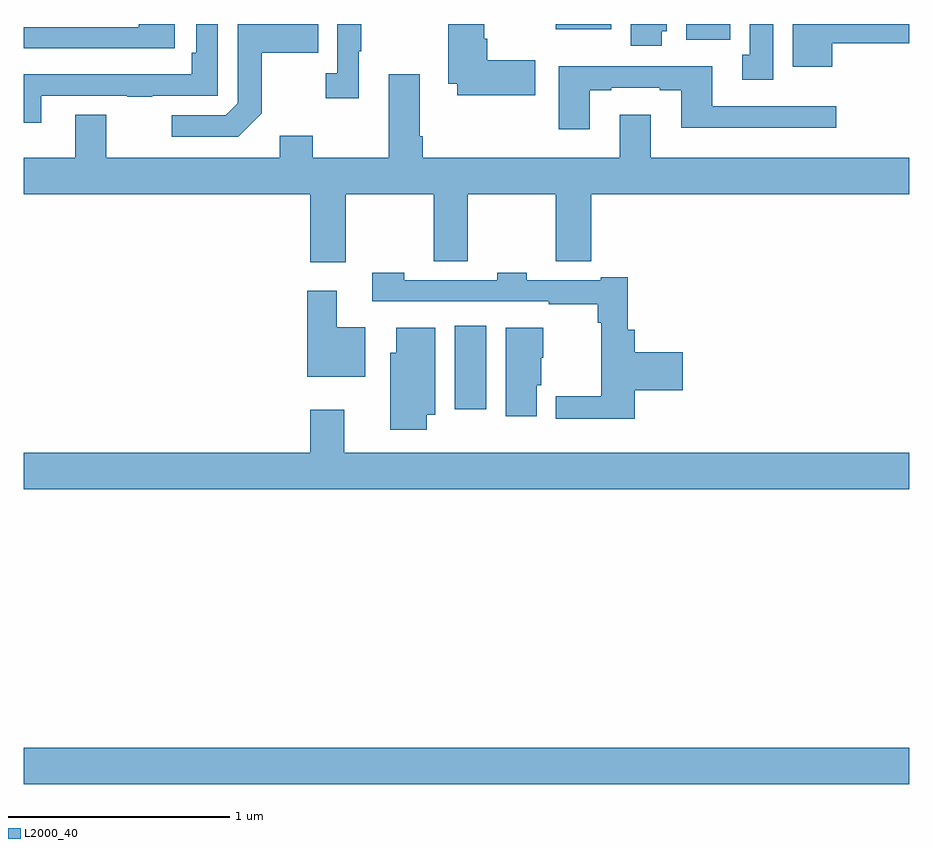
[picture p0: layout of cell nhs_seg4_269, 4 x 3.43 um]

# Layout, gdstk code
import gdstk
lib = gdstk.Library(unit=1e-6, precision=1e-09)
def R(c, l, rs):  # rectangles x0, y0, x1, y1
    for r in rs: c.add(gdstk.rectangle(r[:2], r[2:], *l))
def P(c, l, *ps):  # polygons
    for p in ps: c.add(gdstk.Polygon(p, *l))
L2000_40 = (2000, 40)

nhs_seg4_269 = lib.new_cell('nhs_seg4_269')
R(nhs_seg4_269, L2000_40, [(123,815.468,127,815.632), (124.946,817.161,125.089,817.537), (125.993,818.828,126.19,818.9), (125.402,818.876,125.653,818.9)])
P(nhs_seg4_269, L2000_40, [(124.075,818.497),(124.075,818.77),(124.331,818.77),(124.331,818.9),(123.966,818.9),(123.966,818.541),(123.912,818.487),(123.669,818.487),(123.669,818.391),(123.969,818.391)],
  [(123.682,818.9),(123.521,818.9),(123.521,818.886),(123,818.886),(123,818.79),(123.682,818.79)],
  [(126.385,818.9),(126.278,818.9),(126.278,818.762),(126.245,818.762),(126.245,818.649),(126.385,818.649)],
  [(124.513,818.777),(124.525,818.777),(124.525,818.9),(124.416,818.9),(124.416,818.678),(124.365,818.678),(124.365,818.565),(124.513,818.565)],
  [(125.311,818.737),(125.093,818.737),(125.093,818.833),(125.08,818.833),(125.08,818.9),(124.918,818.9),(124.918,818.63),(124.958,818.63),(124.958,818.579),(125.311,818.579)],
  [(125.881,818.868),(125.905,818.868),(125.905,818.9),(125.741,818.9),(125.741,818.801),(125.881,818.801)],
  [(123.079,818.577),(123.469,818.577),(123.469,818.572),(123.581,818.572),(123.581,818.577),(123.876,818.577),(123.876,818.9),(123.78,818.9),(123.78,818.77),(123.76,818.77),(123.76,818.673),(123.085,818.673),(123.085,818.672),(123,818.672),(123,818.454),(123.079,818.454)],
  [(126.652,818.812),(127,818.812),(127,818.9),(126.473,818.9),(126.473,818.708),(126.652,818.708)],
  [(125.557,818.601),(125.653,818.601),(125.653,818.613),(125.873,818.613),(125.873,818.601),(125.969,818.601),(125.969,818.432),(126.67,818.432),(126.67,818.529),(126.109,818.529),(126.109,818.709),(125.649,818.709),(125.649,818.71),(125.417,818.71),(125.417,818.424),(125.557,818.424)],
  [(124.455,818.132),(124.852,818.132),(124.852,817.828),(125.006,817.828),(125.006,818.132),(125.404,818.132),(125.404,817.828),(125.564,817.828),(125.564,818.132),(127,818.132),(127,818.296),(125.833,818.296),(125.833,818.491),(125.693,818.491),(125.693,818.296),(124.802,818.296),(124.802,818.392),(124.789,818.392),(124.789,818.674),(124.649,818.674),(124.649,818.296),(124.305,818.296),(124.305,818.395),(124.157,818.395),(124.157,818.296),(123.373,818.296),(123.373,818.491),(123.233,818.491),(123.233,818.296),(123,818.296),(123,818.132),(124.295,818.132),(124.295,817.824),(124.455,817.824)],
  [(125.759,817.247),(125.977,817.247),(125.977,817.418),(125.759,817.418),(125.759,817.519),(125.729,817.519),(125.729,817.756),(125.606,817.756),(125.606,817.743),(125.271,817.743),(125.271,817.776),(125.139,817.776),(125.139,817.743),(124.719,817.743),(124.719,817.776),(124.575,817.776),(124.575,817.647),(125.371,817.647),(125.371,817.635),(125.593,817.635),(125.593,817.55),(125.608,817.55),(125.608,817.22),(125.403,817.22),(125.403,817.118),(125.759,817.118)],
  [(124.543,817.531),(124.414,817.531),(124.414,817.696),(124.28,817.696),(124.28,817.307),(124.543,817.307)],
  [(125.317,817.269),(125.338,817.269),(125.338,817.392),(125.347,817.392),(125.347,817.528),(125.177,817.528),(125.177,817.128),(125.317,817.128)],
  [(124.821,817.136),(124.858,817.136),(124.858,817.528),(124.682,817.528),(124.682,817.416),(124.655,817.416),(124.655,817.068),(124.821,817.068)],
  [(127,816.964),(124.447,816.964),(124.447,817.159),(124.295,817.159),(124.295,816.964),(123,816.964),(123,816.8),(127,816.8)])

lib.write_gds('nhs_seg4_269.gds')
